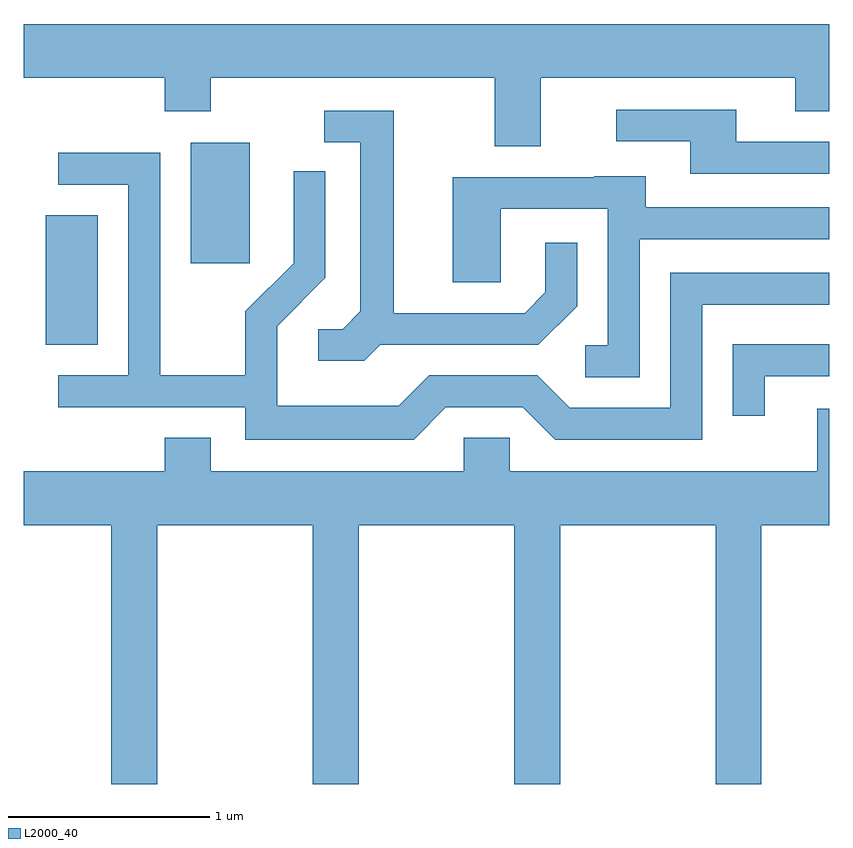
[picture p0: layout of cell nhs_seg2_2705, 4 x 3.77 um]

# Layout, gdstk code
import gdstk
lib = gdstk.Library(unit=1e-6, precision=1e-09)
def R(c, l, rs):  # rectangles x0, y0, x1, y1
    for r in rs: c.add(gdstk.rectangle(r[:2], r[2:], *l))
def P(c, l, *ps):  # polygons
    for p in ps: c.add(gdstk.Polygon(p, *l))
L2000_40 = (2000, 40)

nhs_seg2_2705 = lib.new_cell('nhs_seg2_2705')
R(nhs_seg2_2705, L2000_40, [(263.721,1098.051,263.979,1098.694), (264.441,1098.456,264.734,1099.054)])
P(nhs_seg2_2705, L2000_40, [(266.179,1099.376),(267.441,1099.376),(267.441,1099.211),(267.611,1099.211),(267.611,1099.644),(263.611,1099.644),(263.611,1099.376),(264.311,1099.376),(264.311,1099.211),(264.539,1099.211),(264.539,1099.376),(265.951,1099.376),(265.951,1099.036),(266.179,1099.036)],
  [(267.611,1099.059),(267.149,1099.059),(267.149,1099.219),(266.553,1099.219),(266.553,1099.061),(266.921,1099.061),(266.921,1098.901),(267.611,1098.901)],
  [(265.382,1098.051),(266.167,1098.051),(266.359,1098.244),(266.359,1098.558),(266.201,1098.558),(266.201,1098.312),(266.099,1098.209),(265.449,1098.209),(265.449,1099.214),(265.103,1099.214),(265.103,1099.056),(265.281,1099.056),(265.281,1098.217),(265.194,1098.129),(265.073,1098.129),(265.073,1097.971),(265.302,1097.971)],
  [(265.707,1097.741),(266.089,1097.741),(266.249,1097.581),(266.979,1097.581),(266.979,1098.251),(267.611,1098.251),(267.611,1098.409),(266.821,1098.409),(266.821,1097.739),(266.322,1097.739),(266.162,1097.899),(265.624,1097.899),(265.474,1097.749),(264.869,1097.749),(264.869,1098.144),(265.109,1098.384),(265.109,1098.913),(264.951,1098.913),(264.951,1098.457),(264.711,1098.217),(264.711,1097.899),(264.289,1097.899),(264.289,1099.004),(263.783,1099.004),(263.783,1098.846),(264.131,1098.846),(264.131,1097.899),(263.783,1097.899),(263.783,1097.741),(264.711,1097.741),(264.711,1097.581),(265.547,1097.581)],
  [(266.669,1098.576),(267.611,1098.576),(267.611,1098.734),(266.699,1098.734),(266.699,1098.889),(266.445,1098.889),(266.445,1098.884),(265.741,1098.884),(265.741,1098.361),(265.979,1098.361),(265.979,1098.726),(266.511,1098.726),(266.511,1098.049),(266.398,1098.049),(266.398,1097.891),(266.669,1097.891)],
  [(267.289,1097.896),(267.611,1097.896),(267.611,1098.054),(267.131,1098.054),(267.131,1097.698),(267.289,1097.698)],
  [(264.274,1097.156),(265.046,1097.156),(265.046,1095.871),(265.274,1095.871),(265.274,1097.156),(266.046,1097.156),(266.046,1095.871),(266.274,1095.871),(266.274,1097.156),(267.046,1097.156),(267.046,1095.871),(267.274,1095.871),(267.274,1097.156),(267.611,1097.156),(267.611,1097.734),(267.551,1097.734),(267.551,1097.424),(266.024,1097.424),(266.024,1097.589),(265.796,1097.589),(265.796,1097.424),(264.539,1097.424),(264.539,1097.589),(264.311,1097.589),(264.311,1097.424),(263.611,1097.424),(263.611,1097.156),(264.046,1097.156),(264.046,1095.871),(264.274,1095.871)])

lib.write_gds('nhs_seg2_2705.gds')
